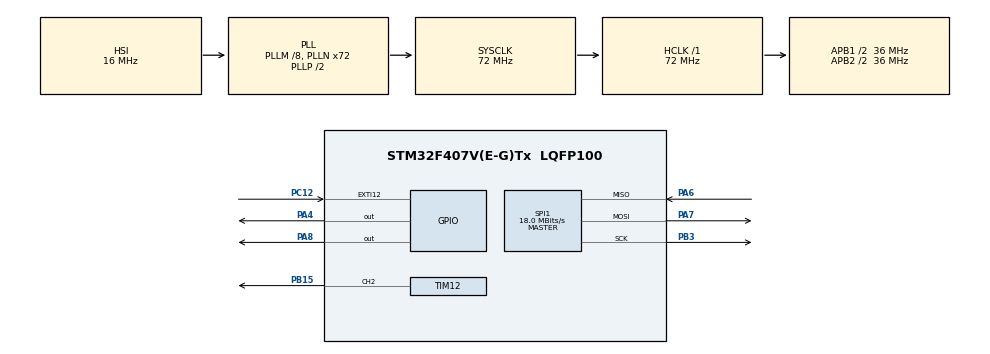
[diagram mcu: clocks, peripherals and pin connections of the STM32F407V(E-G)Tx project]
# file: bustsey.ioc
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Mcu.Family=STM32F4
Mcu.Name=STM32F407V(E-G)Tx
Mcu.Package=LQFP100
NVIC.EXTI15_10_IRQn=true\:0\:0\:false\:false\:true\:true\:true
NVIC.PriorityGroup=NVIC_PRIORITYGROUP_4
PA13.Mode=Serial_Wire
PA13.Signal=SYS_JTMS-SWDIO
PA14.Mode=Serial_Wire
PA14.Signal=SYS_JTCK-SWCLK
PA4.GPIO_PuPd=GPIO_PULLUP
PA4.Signal=GPIO_Output
PA6.Mode=Full_Duplex_Master
PA6.Signal=SPI1_MISO
PA7.Mode=Full_Duplex_Master
PA7.Signal=SPI1_MOSI
PA8.GPIO_PuPd=GPIO_NOPULL
PA8.Signal=GPIO_Output
PB15.Signal=S_TIM12_CH2
PB3.Mode=Full_Duplex_Master
PB3.Signal=SPI1_SCK
PC12.GPIO_ModeDefaultEXTI=GPIO_MODE_IT_FALLING
PC12.GPIO_PuPd=GPIO_PULLUP
PC12.Signal=GPXTI12
PH0-OSC_IN.Mode=HSE-External-Oscillator
PH0-OSC_IN.Signal=RCC_OSC_IN
PH1-OSC_OUT.Mode=HSE-External-Oscillator
PH1-OSC_OUT.Signal=RCC_OSC_OUT
ProjectManager.HeapSize=0x200
ProjectManager.StackSize=0x400
ProjectManager.TargetToolchain=MDK-ARM V5.27
RCC.48MHZClocksFreq_Value=36000000
RCC.AHBFreq_Value=72000000
RCC.APB1CLKDivider=RCC_HCLK_DIV2
RCC.APB1Freq_Value=36000000
RCC.APB1TimFreq_Value=72000000
RCC.APB2CLKDivider=RCC_HCLK_DIV2
RCC.APB2Freq_Value=36000000
RCC.APB2TimFreq_Value=72000000
RCC.CortexFreq_Value=72000000
RCC.HCLKFreq_Value=72000000
RCC.HSE_VALUE=8000000
RCC.HSI_VALUE=16000000
RCC.LSE_VALUE=32768
RCC.PLLM=8
RCC.PLLN=72
RCC.SYSCLKFreq_VALUE=72000000
RCC.SYSCLKSource=RCC_SYSCLKSOURCE_PLLCLK
RCC.VCOOutputFreq_Value=144000000
SH.S_TIM12_CH2.0=TIM12_CH2,PWM Generation2 CH2
SPI1.CalculateBaudRate=18.0 MBits/s
SPI1.Direction=SPI_DIRECTION_2LINES
SPI1.Mode=SPI_MODE_MASTER
SPI1.VirtualType=VM_MASTER
TIM12.Channel-PWM\ Generation2\ CH2=TIM_CHANNEL_2
TIM12.Period=999
TIM12.Prescaler=83
VP_TIM12_VS_ClockSourceINT.Mode=Internal
board=custom

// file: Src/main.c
/* USER CODE BEGIN Header */
/**
  ******************************************************************************
  * @file           : main.c
  * @brief          : Main program body
  ******************************************************************************
  * @attention
  *
  * <h2><center>&copy; Copyright (c) 2020 STMicroelectronics.
  * All rights reserved.</center></h2>
  *
  * This software component is licensed by ST under BSD 3-Clause license,
  * the "License"; You may not use this file except in compliance with the
  * License. You may obtain a copy of the License at:
  *                        opensource.org/licenses/BSD-3-Clause
  *
  ******************************************************************************
  */
/* USER CODE END Header */

#include "main.h"
#include "spi.h"
#include "tim.h"
#include "gpio.h"

/* USER CODE BEGIN Includes */
#include "nrf24l01.h"
/* USER CODE END Includes */

void SystemClock_Config(void);
/* USER CODE BEGIN PFP */
uint8_t rxbuff[32];
uint8_t ack[32];
uint32_t count1[6];
uint32_t count2[6];
void NRF_RxCpltCallback(NRF24L01_HandleTypeDef *hnrf,uint8_t pipex)
{
  count1[pipex]++;
  ack[31]++;
}
void NRF_RxPayloadAckCpltCallback(NRF24L01_HandleTypeDef *hnrf,uint8_t pipex)
{
  count2[pipex]++;
  ack[31]++;
}
/* USER CODE END PFP */

int main(void)
{

  /* MCU Configuration--------------------------------------------------------*/

  /* Reset of all peripherals, Initializes the Flash interface and the Systick. */
  HAL_Init();

  /* Configure the system clock */
  SystemClock_Config();

  /* Initialize all configured peripherals */
  MX_GPIO_Init();
  MX_SPI1_Init();
  MX_TIM12_Init();
  /* USER CODE BEGIN 2 */
  NRF24L01_Init();
  HAL_TIM_Base_Start(&htim12);
  HAL_TIM_PWM_Start(&htim12,TIM_CHANNEL_2);
  __HAL_TIM_SET_COMPARE(&htim12,TIM_CHANNEL_2,1000);
  /* USER CODE END 2 */

  /* Infinite loop */
  /* USER CODE BEGIN WHILE */
  hnrf24l01.pAckBuffPtr=ack;
  hnrf24l01.AckBuffsize=32;
  while (1)
  {
    NRF24L01_Get_Instance(&hnrf24l01);
    NRF24L01_Recieve(&hnrf24l01,rxbuff,0xffff);
    HAL_Delay(1);
    __HAL_TIM_SET_COMPARE(&htim12,TIM_CHANNEL_2,1000);
   // NRF24L01_Transmit(&hnrf24l01,rxbuff,0xffff);
    /* USER CODE END WHILE */

  }
}

void SystemClock_Config(void)
{
  RCC_OscInitTypeDef RCC_OscInitStruct = {0};
  RCC_ClkInitTypeDef RCC_ClkInitStruct = {0};

  /** Configure the main internal regulator output voltage
  */
  __HAL_RCC_PWR_CLK_ENABLE();
  __HAL_PWR_VOLTAGESCALING_CONFIG(PWR_REGULATOR_VOLTAGE_SCALE1);
  /** Initializes the CPU, AHB and APB busses clocks
  */
  RCC_OscInitStruct.OscillatorType = RCC_OSCILLATORTYPE_HSI;
  RCC_OscInitStruct.HSIState = RCC_HSI_ON;
  RCC_OscInitStruct.HSICalibrationValue = RCC_HSICALIBRATION_DEFAULT;
  RCC_OscInitStruct.PLL.PLLState = RCC_PLL_ON;
  RCC_OscInitStruct.PLL.PLLSource = RCC_PLLSOURCE_HSI;
  RCC_OscInitStruct.PLL.PLLM = 8;
  RCC_OscInitStruct.PLL.PLLN = 72;
  RCC_OscInitStruct.PLL.PLLP = RCC_PLLP_DIV2;
  RCC_OscInitStruct.PLL.PLLQ = 4;
  if (HAL_RCC_OscConfig(&RCC_OscInitStruct) != HAL_OK)
  {
    Error_Handler();
  }
  /** Initializes the CPU, AHB and APB busses clocks
  */
  RCC_ClkInitStruct.ClockType = RCC_CLOCKTYPE_HCLK|RCC_CLOCKTYPE_SYSCLK
                              |RCC_CLOCKTYPE_PCLK1|RCC_CLOCKTYPE_PCLK2;
  RCC_ClkInitStruct.SYSCLKSource = RCC_SYSCLKSOURCE_PLLCLK;
  RCC_ClkInitStruct.AHBCLKDivider = RCC_SYSCLK_DIV1;
  RCC_ClkInitStruct.APB1CLKDivider = RCC_HCLK_DIV2;
  RCC_ClkInitStruct.APB2CLKDivider = RCC_HCLK_DIV2;

  if (HAL_RCC_ClockConfig(&RCC_ClkInitStruct, FLASH_LATENCY_2) != HAL_OK)
  {
    Error_Handler();
  }
}

void Error_Handler(void)
{
}

/************************ (C) COPYRIGHT STMicroelectronics *****END OF FILE****/
